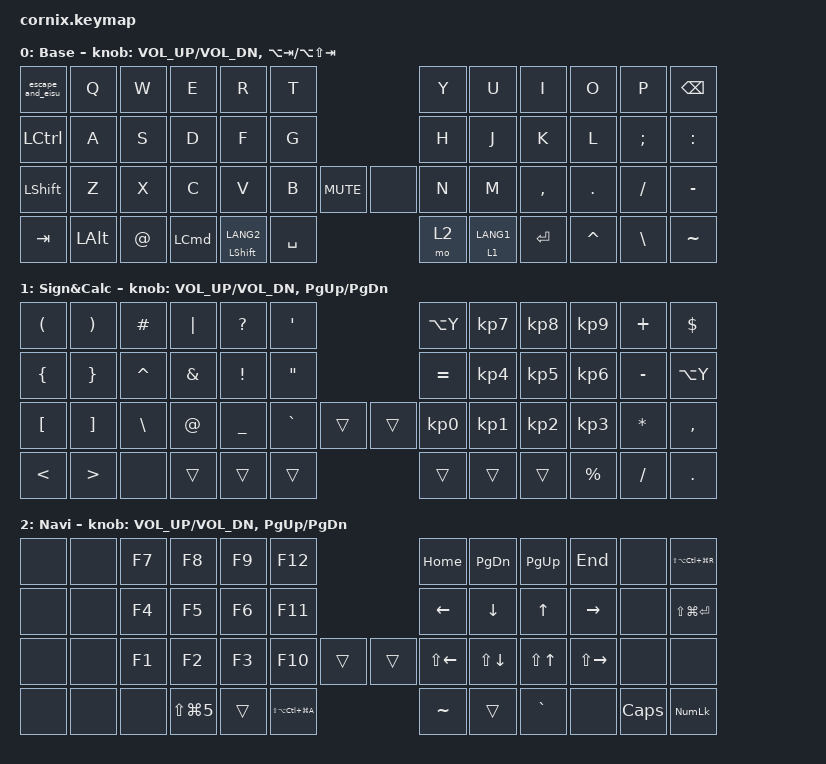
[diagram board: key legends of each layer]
/*
 * Copyright (c) 2020 The ZMK Contributors
 *
 * SPDX-License-Identifier: MIT
 */

#include "zmk-helpers/helper.h"
#include "includes/cornix54.h"

// tap windows for ctl alt and gui

#define HM_TAPPING_TERM 250
#define HM_TAPPING_REPEAT 210

// quick tapping for shift

#define HM_TAPPING_TERM_FAST 200
#define HM_PRIOR_IDLE 70
#define BASE 0
#define WIN 1
#define LOWER 2
#define RAISE 3
#define ADJUST 4
#define NAVI   5
#define NUM    6
#define DEBUG  7

// https://github.com/urob/zmk-config/tree/main#timeless-homerow-mods

#define KEYS_L LT0 LT1 LT2 LT3 LT4 LT5 LM0 LM1 LM2 LM3 LM4 LM5 LB0 LB1 LB2 LB3 LB4 LB5  // left hand
#define KEYS_R RT0 RT1 RT2 RT3 RT4 RT5 RM0 RM1 RM2 RM3 RM4 RM5 RB0 RB1 RB2 RB3 RB4 RB5  // right hand
#define THUMBS LH1 LH0 RH0 RH1
#define KEYS_T LH1 LH0 RH0 RH1
#define ZMK_POINTING_DEFAULT_SCRL_VAL 15

#include <behaviors.dtsi>
#include <dt-bindings/zmk/keys.h>

/ {
    // Activate ADJUST layer by pressing raise and lower

    behaviors {
        hm_l: homerow_mods_left {
            compatible = "zmk,behavior-hold-tap";
            #binding-cells = <2>;
            bindings = <&kp>, <&kp>;

            flavor = "balanced";
            tapping-term-ms = <HM_TAPPING_TERM>;
            quick-tap-ms = <200>;                // repeat on tap-into-hold
            require-prior-idle-ms = <HM_PRIOR_IDLE>;
            hold-trigger-key-positions = <KEYS_R KEYS_T>;
            hold-trigger-on-release;
        };

        hm_r: homerow_mods_right {
            compatible = "zmk,behavior-hold-tap";
            #binding-cells = <2>;
            bindings = <&kp>, <&kp>;

            flavor = "balanced";
            tapping-term-ms = <HM_TAPPING_TERM>;
            quick-tap-ms = <200>;
            require-prior-idle-ms = <HM_PRIOR_IDLE>;
            hold-trigger-key-positions = <KEYS_L KEYS_T>;
            hold-trigger-on-release;
        };

        // Positional Homerow mods for shift
        // Use faster tapping term and disable some features that may
        // cause false negatives.

        hm_shift_l: hm_shift_l {
            compatible = "zmk,behavior-hold-tap";
            #binding-cells = <2>;
            bindings = <&kp>, <&kp>;

            //flavor = "balanced";

            flavor = "balanced";
            tapping-term-ms = <HM_TAPPING_TERM_FAST>;
            quick-tap-ms = <200>;
            require-prior-idle-ms = <HM_PRIOR_IDLE>;
            hold-trigger-key-positions = <KEYS_R KEYS_T>;
            hold-trigger-on-release;
        };

        hm_shift_r: hm_shift_r {
            compatible = "zmk,behavior-hold-tap";
            #binding-cells = <2>;
            bindings = <&kp>, <&kp>;

            flavor = "balanced";
            tapping-term-ms = <HM_TAPPING_TERM_FAST>;
            quick-tap-ms = <200>;
            require-prior-idle-ms = <HM_PRIOR_IDLE>;
            hold-trigger-key-positions = <KEYS_L KEYS_T>;

            // for quick tapping; shift+~

            hold-trigger-on-release;
        };

        /*
         * Non-Positional Homerow Mods
         * Used for &mm_grescm_gui behavior on left hand.
         *
         * Usage: &hm LSHFT T
         * Tap: T
         * Tap-Tap-Hold: Repeat T
         * Hold: LSHIFT
         */

        hm: homerow_mods {
            compatible = "zmk,behavior-hold-tap";
            #binding-cells = <2>;
            bindings = <&kp>, <&kp>;

            flavor = "balanced";
            tapping-term-ms = <HM_TAPPING_TERM>;
            quick-tap-ms = <200>;
        };

        lt: layer_tap {
            compatible = "zmk,behavior-hold-tap";
            #binding-cells = <2>;
            bindings = <&mo>, <&kp>;

            flavor = "hold-preferred";
            tapping-term-ms = <HM_TAPPING_TERM>;
            quick-tap-ms = <200>;
        };
    };

    conditional_layers {
        compatible = "zmk,conditional-layers";

        adjust_layer {
            if-layers = <3 2>;
            then-layer = <4>;
        };
    };

    macros {
        escape_and_eisu: escape_and_eisu {
            compatible = "zmk,behavior-macro";
            #binding-cells = <0>;
            bindings = <&kp ESCAPE &kp LANG2>;
            label = "ESCAPE_AND_EISU";
        };
    };

    keymap {
        compatible = "zmk,keymap";

        default_layer {
            display-name = "Base";

            // ------------------------------------------------------------------------------------------------------------
            // |   `   |  1  |  2  |  3   |  4   |  5   |                   |  6   |  7    |  8    |  9   |   0   |       |
            // |  ESC  |  Q  |  W  |  E   |  R   |  T   |                   |  Y   |  U    |  I    |  O   |   P   | BKSPC |
            // |  TAB  |  A  |  S  |  D   |  F   |  G   |                   |  H   |  J    |  K    |  L   |   ;   |   '   |
            // | SHIFT |  Z  |  X  |  C   |  V   |  B   |  MUTE  |  |       |  N   |  M    |  ,    |  .   |   /   | SHIFT |
            //               | GUI | ALT  | CTRL | LOWER|  ENTER |  | SPACE | RAISE| CTRL  | ALT   | GUI  |

            bindings = <
&escape_and_eisu  &kp Q         &kp W        &kp E             &kp R                 &kp T                         &kp Y  &kp U        &kp I      &kp O      &kp P          &kp BACKSPACE
&kp LCTRL         &kp A         &kp S        &kp D             &kp F                 &kp G                         &kp H  &kp J        &kp K      &kp L      &kp SEMICOLON  &kp COLON
&kp LEFT_SHIFT    &kp Z         &kp X        &kp C             &kp V                 &kp B      &kp K_MUTE  &none  &kp N  &kp M        &kp COMMA  &kp DOT    &kp FSLH       &kp MINUS
&kp TAB           &kp LEFT_ALT  &kp AT_SIGN  &kp LEFT_COMMAND  &mt LEFT_SHIFT LANG2  &kp SPACE                     &mo 2  &lt 1 LANG1  &kp ENTER  &kp CARET  &kp BACKSLASH  &kp TILDE
            >;

            sensor-bindings =
                <&inc_dec_kp C_VOL_UP C_VOL_DN>,
                <&inc_dec_kp LA(TAB) LA(LS(TAB))>;
        };

        SignAndCalc {
            display-name = "Sign&Calc";

            // ------------------------------------------------------------------------------------------------------------
            // |   `   |  1  |  2  |  3   |  4   |  5   |                   |  6   |  7    |  8    |  9   |   0   |       |
            // |  ESC  |  Q  |  W  |  E   |  R   |  T   |                   |  Y   |  U    |  I    |  O   |   P   | BKSPC |
            // |  TAB  |  A  |  S  |  D   |  F   |  G   |                   |  H   |  J    |  K    |  L   |   ;   |   '   |
            // | SHIFT |  Z  |  X  |  C   |  V   |  B   |  MUTE  |  |       |  N   |  M    |  ,    |  .   |   /   | SHIFT |
            //               | GUI | ALT  | CTRL | LOWER|  ENTER |  | SPACE | RAISE| CTRL  | ALT   | GUI  |

            bindings = <
&kp LEFT_PARENTHESIS  &kp RIGHT_PARENTHESIS  &kp HASH       &kp PIPE       &kp QUESTION     &kp SINGLE_QUOTE                   &kp LA(Y)        &kp KP_NUMBER_7  &kp KP_NUMBER_8  &kp KP_NUMBER_9  &kp PLUS      &kp DOLLAR
&kp LEFT_BRACE        &kp RIGHT_BRACE        &kp CARET      &kp AMPERSAND  &kp EXCLAMATION  &kp DOUBLE_QUOTES                  &kp EQUAL        &kp KP_NUMBER_4  &kp KP_NUMBER_5  &kp KP_NUMBER_6  &kp MINUS     &kp LA(Y)
&kp LEFT_BRACKET      &kp RIGHT_BRACKET      &kp BACKSLASH  &kp AT_SIGN    &kp UNDER        &kp GRAVE          &trans  &trans  &kp KP_NUMBER_0  &kp KP_NUMBER_1  &kp KP_NUMBER_2  &kp KP_NUMBER_3  &kp ASTERISK  &kp COMMA
&kp LESS_THAN         &kp GREATER_THAN       &none          &trans         &trans           &trans                             &trans           &trans           &trans           &kp PERCENT      &kp SLASH     &kp PERIOD
            >;

            sensor-bindings = <&inc_dec_kp C_VOL_UP C_VOL_DN &inc_dec_kp PG_UP PG_DN>;
            label = "Sign&Calc";
        };

        Navigation {
            display-name = "Navi";

            // TODO: Some binds are waiting for shifted keycode support.
            // -------------------------------
            // |       |  F1 |  F2 |  F3  |  F4  |  F5  |                   |  F6  |  F7   |  F8   |  F9  |  F10  |  F11  |
            // |   `   |  1  |  2  |  3   |  4   |  5   |                   |  6   |  7    |  8    |  9   |   0   |  F12  |
            // |       |  !  |  @  |  #   |  $   |  %   |                   |  ^   |  &    |  *    |  (   |   )   |   |   |
            // |       |  =  |  -  |  +   |  {   |  }   |        |  |       |  [   |  ]    |  ;    |  :   |   \   |       |
            //               |     |      |      |      |        |  |       |      |       |       |      |

            bindings = <
&none  &none  &kp F7  &kp F8          &kp F9  &kp F12                                &kp HOME      &kp PAGE_DOWN  &kp PAGE_UP  &kp END        &none         &kp LS(LA(LC(LG(R))))
&none  &none  &kp F4  &kp F5          &kp F6  &kp F11                                &kp LEFT      &kp DOWN       &kp UP       &kp RIGHT      &none         &kp LS(LG(ENTER))
&none  &none  &kp F1  &kp F2          &kp F3  &kp F10                &trans  &trans  &kp LS(LEFT)  &kp LS(DOWN)   &kp LS(UP)   &kp LS(RIGHT)  &none         &none
&none  &none  &none   &kp LS(LG(N5))  &trans  &kp LS(LA(LC(LG(A))))                  &kp TILDE     &trans         &kp GRAVE    &none          &kp CAPSLOCK  &kp KP_NUMLOCK
            >;

            sensor-bindings = <&inc_dec_kp C_VOL_UP C_VOL_DN &inc_dec_kp PG_UP PG_DN>;
        };
    };
};
